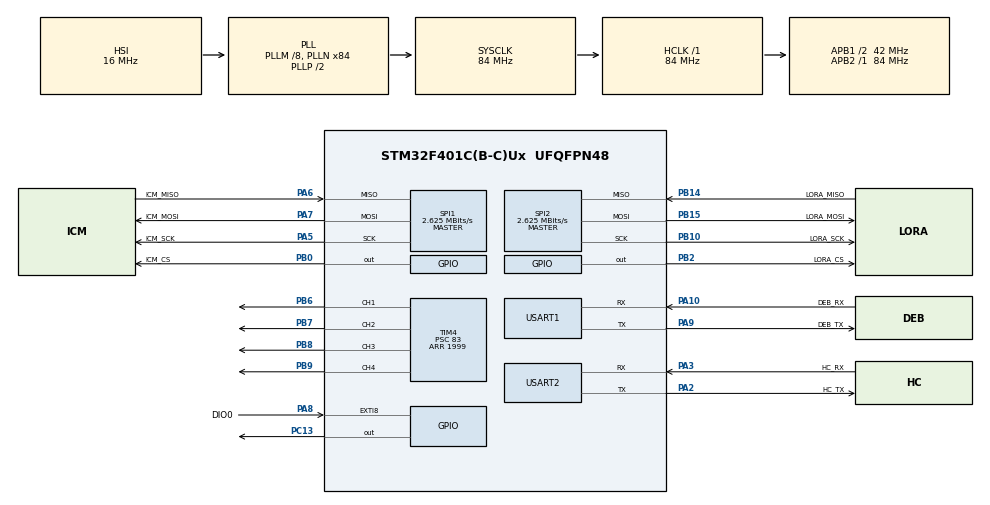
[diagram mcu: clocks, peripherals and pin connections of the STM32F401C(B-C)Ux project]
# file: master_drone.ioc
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Mcu.Family=STM32F4
Mcu.Name=STM32F401C(B-C)Ux
Mcu.Package=UFQFPN48
NVIC.EXTI9_5_IRQn=true\:0\:0\:false\:false\:true\:true\:true\:true
NVIC.PriorityGroup=NVIC_PRIORITYGROUP_4
NVIC.TIM2_IRQn=true\:0\:0\:false\:false\:true\:true\:true\:true
NVIC.USART2_IRQn=true\:3\:0\:true\:false\:true\:true\:true\:true
PA10.GPIO_Label=DEB_RX
PA10.Mode=Asynchronous
PA10.Signal=USART1_RX
PA2.GPIO_Label=HC_TX
PA2.Mode=Asynchronous
PA2.Signal=USART2_TX
PA3.GPIO_Label=HC_RX
PA3.Mode=Asynchronous
PA3.Signal=USART2_RX
PA5.GPIO_Label=ICM_SCK
PA5.Mode=Full_Duplex_Master
PA5.Signal=SPI1_SCK
PA6.GPIO_Label=ICM_MISO
PA6.Mode=Full_Duplex_Master
PA6.Signal=SPI1_MISO
PA7.GPIO_Label=ICM_MOSI
PA7.Mode=Full_Duplex_Master
PA7.Signal=SPI1_MOSI
PA8.GPIO_Label=DIO0
PA8.Signal=GPXTI8
PA9.GPIO_Label=DEB_TX
PA9.Mode=Asynchronous
PA9.Signal=USART1_TX
PB0.GPIO_Label=ICM_CS
PB0.Signal=GPIO_Output
PB10.GPIO_Label=LORA_SCK
PB10.Mode=Full_Duplex_Master
PB10.Signal=SPI2_SCK
PB14.GPIO_Label=LORA_MISO
PB14.Mode=Full_Duplex_Master
PB14.Signal=SPI2_MISO
PB15.GPIO_Label=LORA_MOSI
PB15.Mode=Full_Duplex_Master
PB15.Signal=SPI2_MOSI
PB2.GPIO_Label=LORA_CS
PB2.Signal=GPIO_Output
PB6.GPIO_Speed=GPIO_SPEED_FREQ_HIGH
PB6.Signal=S_TIM4_CH1
PB7.GPIO_Speed=GPIO_SPEED_FREQ_HIGH
PB7.Signal=S_TIM4_CH2
PB8.GPIO_Speed=GPIO_SPEED_FREQ_HIGH
PB8.Signal=S_TIM4_CH3
PB9.GPIO_Speed=GPIO_SPEED_FREQ_HIGH
PB9.Signal=S_TIM4_CH4
PC13-ANTI_TAMP.Signal=GPIO_Output
PH0\ -\ OSC_IN.Mode=HSE-External-Oscillator
PH0\ -\ OSC_IN.Signal=RCC_OSC_IN
PH1\ -\ OSC_OUT.Mode=HSE-External-Oscillator
PH1\ -\ OSC_OUT.Signal=RCC_OSC_OUT
ProjectManager.HeapSize=0x200
ProjectManager.StackSize=0x400
ProjectManager.TargetToolchain=STM32CubeIDE
RCC.48MHZClocksFreq_Value=42000000
RCC.AHBFreq_Value=84000000
RCC.APB1CLKDivider=RCC_HCLK_DIV2
RCC.APB1Freq_Value=42000000
RCC.APB1TimFreq_Value=84000000
RCC.APB2Freq_Value=84000000
RCC.APB2TimFreq_Value=84000000
RCC.CortexFreq_Value=84000000
RCC.HCLKFreq_Value=84000000
RCC.HSE_VALUE=25000000
RCC.HSI_VALUE=16000000
RCC.LSE_VALUE=32768
RCC.PLLM=8
RCC.PLLN=84
RCC.SYSCLKFreq_VALUE=84000000
RCC.SYSCLKSource=RCC_SYSCLKSOURCE_PLLCLK
RCC.VCOOutputFreq_Value=168000000
SH.S_TIM4_CH1.0=TIM4_CH1,PWM Generation1 CH1
SH.S_TIM4_CH2.0=TIM4_CH2,PWM Generation2 CH2
SH.S_TIM4_CH3.0=TIM4_CH3,PWM Generation3 CH3
SH.S_TIM4_CH4.0=TIM4_CH4,PWM Generation4 CH4
SPI1.BaudRatePrescaler=SPI_BAUDRATEPRESCALER_32
SPI1.CalculateBaudRate=2.625 MBits/s
SPI1.Direction=SPI_DIRECTION_2LINES
SPI1.Mode=SPI_MODE_MASTER
SPI1.VirtualType=VM_MASTER
SPI2.BaudRatePrescaler=SPI_BAUDRATEPRESCALER_16
SPI2.CalculateBaudRate=2.625 MBits/s
SPI2.Direction=SPI_DIRECTION_2LINES
SPI2.Mode=SPI_MODE_MASTER
SPI2.VirtualType=VM_MASTER
TIM2.AutoReloadPreload=TIM_AUTORELOAD_PRELOAD_ENABLE
TIM2.Period=1999
TIM2.Prescaler=83
TIM4.Channel-PWM\ Generation1\ CH1=TIM_CHANNEL_1
TIM4.Channel-PWM\ Generation2\ CH2=TIM_CHANNEL_2
TIM4.Channel-PWM\ Generation3\ CH3=TIM_CHANNEL_3
TIM4.Channel-PWM\ Generation4\ CH4=TIM_CHANNEL_4
TIM4.Period=1999
TIM4.Prescaler=83
USART1.VirtualMode=VM_ASYNC
USART2.VirtualMode=VM_ASYNC
VP_TIM2_VS_ClockSourceINT.Mode=Internal
VP_TIM4_VS_ClockSourceINT.Mode=Internal
board=custom

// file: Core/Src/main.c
/* USER CODE BEGIN Header */
/**
  ******************************************************************************
  * @file           : main.c
  * @brief          : Main program body
  ******************************************************************************
  */
/* USER CODE END Header */

#include "main.h"
#include "spi.h"
#include "tim.h"
#include "usart.h"
#include "gpio.h"

/* USER CODE BEGIN Includes */
#include <stdio.h>
#include "icm20948.h"
#include "madgwick.h"
#include "motor_control.h"
/* USER CODE END Includes */

/* USER CODE BEGIN PTD */

typedef struct {
    float kp;
    float ki;
    float kd;

    float integral;
    float prev_error;

    float out_min;
    float out_max;
} PID_t;

/* USER CODE END PTD */

/* USER CODE BEGIN PD */

#define RC_PACKET_SIZE 2

#define PI_reverse_180 57.2957795f

/*
 * TIM2 должен быть 500 Гц.
 */
#define PID_DT 0.002f

#define MAX_ANGLE_CMD_DEG 20.0f

/*
 * Базовый газ.
 * Для первого теста с yaw лучше не ставить сразу 300.
 */
//#define BASE_THROTTLE 300.0f
#define THROTTLE_START 150.0f
#define THROTTLE_END   350.0f
#define THROTTLE_RAMP_TIME_MS 7000

#define ROLL_TRIM_PERCENT -0.07f
#define ROLL_TRIM_MAX     30.0f

/*
 * 1 = реально писать в моторы.
 * 0 = только считать и выводить в UART.
 */
#define CONTROL_MOTORS 1

#define PITCH_TRIM_PERCENT 0.15f
#define PITCH_TRIM_MAX     45.0f

/*
 * Одноразовый тест.
 */
#define PID_TEST_DELAY_MS     3000
#define PID_TEST_DURATION_MS  8000

/*
 * YAW_MIX_SIGN:
 *
 * Если yaw-коррекция раскручивает дрон сильнее,
 * поменять 1.0f на -1.0f.
 */
#define YAW_MIX_SIGN 1.0f

/* USER CODE END PD */

/* USER CODE BEGIN PV */
volatile float current_throttle_dbg = 0.0f;

volatile uint8_t imu_flag = 0;

volatile uint8_t pid_enable = 0;
volatile uint8_t motor_update_flag = 0;

volatile uint8_t attitude_ref_captured = 0;
volatile float roll_ref_deg = 0.0f;
volatile float pitch_ref_deg = 0.0f;

volatile int8_t rc_roll = 0;
volatile int8_t rc_pitch = 0;
volatile uint32_t rc_last_update = 0;
volatile uint8_t rc_valid = 0;

static uint8_t uart_rx_byte;
static uint8_t uart_state = 0;
static uint8_t uart_buf[RC_PACKET_SIZE];

volatile uint32_t uart2_bytes_received = 0;

MadgwickFilter Filter;
volatile euler_t angles = {0};

/*
 * Debug accelerometer.
 */
volatile float accel_x_dbg = 0.0f;
volatile float accel_y_dbg = 0.0f;
volatile float accel_z_dbg = 0.0f;

volatile int16_t accel_x_raw_dbg = 0;
volatile int16_t accel_y_raw_dbg = 0;
volatile int16_t accel_z_raw_dbg = 0;

/*
 * Debug gyro.
 */
volatile float gyro_x_dbg = 0.0f;
volatile float gyro_y_dbg = 0.0f;
volatile float gyro_z_dbg = 0.0f;

volatile int16_t gyro_x_raw_dbg = 0;
volatile int16_t gyro_y_raw_dbg = 0;
volatile int16_t gyro_z_raw_dbg = 0;

/*
 * PID test state.
 */
volatile uint8_t pid_test_started = 0;
volatile uint8_t pid_test_finished = 0;
volatile uint32_t pid_test_start_time = 0;

/*
 * Roll PID.
 */
static PID_t pid_roll = {
    .kp = 0.05f,
    .ki = 0.0f,
    .kd = 0.01f,

    .integral = 0.0f,
    .prev_error = 0.0f,

    .out_min = -30.0f,
    .out_max = 30.0f
};

static PID_t pid_pitch = {
    .kp = 0.05f,
    .ki = 0.0f,
    .kd = 0.01f,

    .integral = 0.0f,
    .prev_error = 0.0f,

    .out_min = -30.0f,
    .out_max = 30.0f
};

/*
 * Yaw PID.
 *
 * Пока делаем не удержание angles.yaw,
 * а гашение скорости вращения по gyro Z.
 *
 * target_yaw_rate = 0
 */
static PID_t pid_yaw = {
    .kp = 0.0075f,
    .ki = 0.00125f,
    .kd = 0.0025f,

    .integral = 0.0f,
    .prev_error = 0.0f,

    .out_min = -25.0f,
    .out_max = 25.0f
};

volatile float target_roll_deg = 0.0f;
volatile float target_pitch_deg = 0.0f;
volatile float target_yaw_rate = 0.0f;

volatile float roll_corr_dbg = 0.0f;
volatile float pitch_corr_dbg = 0.0f;
volatile float yaw_corr_dbg = 0.0f;

volatile uint16_t motor1_dbg = 0;
volatile uint16_t motor2_dbg = 0;
volatile uint16_t motor3_dbg = 0;
volatile uint16_t motor4_dbg = 0;

/* USER CODE END PV */

void SystemClock_Config(void);

/* USER CODE BEGIN PFP */

void init_fail_detector(init_status status);

static float PID_Update(PID_t *pid, float target, float current, float dt);
static void PID_Reset(PID_t *pid);

static uint16_t clamp_throttle(float value);
static float rc_to_angle_deg(int8_t rc_value);

void RC_Process_Failure(void);
void PID_Test_Service(void);

/* USER CODE END PFP */

/* USER CODE BEGIN 0 */

void init_fail_detector(init_status status)
{
    switch(status)
    {
        case init_success:
            printf("Init success\r\n");
            break;

        case who_am_i_fail:
            printf("WHO_AM_I failed\r\n");
            break;

        case reset_fail:
            printf("Reset failed\r\n");
            break;

        case wake_up_fail:
            printf("Wake up failed\r\n");
            break;

        case clock_source_fail:
            printf("Clock source config failed\r\n");
            break;

        case odr_fail:
            printf("ODR align failed\r\n");
            break;

        case spi_slave_enable_fail:
            printf("SPI slave enable failed\r\n");
            break;

        case gyro_srd_fail:
            printf("Gyro sample rate divider failed\r\n");
            break;

        case gyro_fsf_fail:
            printf("Gyro full scale config failed\r\n");
            break;

        case accel_fsf_fail:
            printf("Accel full scale config failed\r\n");
            break;

        default:
            printf("Unknown init error\r\n");
            break;
    }
}

static float PID_Update(PID_t *pid, float target, float current, float dt)
{
    float error = target - current;

    pid->integral += error * dt;

    /*
     * Anti-windup.
     */
    if (pid->integral > 50.0f)
    {
        pid->integral = 50.0f;
    }

    if (pid->integral < -50.0f)
    {
        pid->integral = -50.0f;
    }

    float derivative = (error - pid->prev_error) / dt;

    float output = pid->kp * error
                 + pid->ki * pid->integral
                 + pid->kd * derivative;

    if (output > pid->out_max)
    {
        output = pid->out_max;
    }

    if (output < pid->out_min)
    {
        output = pid->out_min;
    }

    pid->prev_error = error;

    return output;
}

static void PID_Reset(PID_t *pid)
{
    pid->integral = 0.0f;
    pid->prev_error = 0.0f;
}

static uint16_t clamp_throttle(float value)
{
    if (value < MOTOR_THROTTLE_MIN)
    {
        return MOTOR_THROTTLE_MIN;
    }

    if (value > MOTOR_THROTTLE_MAX)
    {
        return MOTOR_THROTTLE_MAX;
    }

    return (uint16_t)value;
}

static float rc_to_angle_deg(int8_t rc_value)
{
    return ((float)rc_value / 100.0f) * MAX_ANGLE_CMD_DEG;
}

/*
 * Одноразовый PID motor test.
 */
void PID_Test_Service(void)
{
    if (pid_test_finished)
    {
        pid_enable = 0;
        Motors_StopAll();
        return;
    }

    /*
     * Ждём несколько секунд после старта.
     */
    if (!pid_test_started)
    {
        if (HAL_GetTick() >= PID_TEST_DELAY_MS)
        {
            Motors_ArmOnce();
            Motors_StartOneShotTest();

            pid_test_start_time = HAL_GetTick();
            pid_test_started = 1;

            attitude_ref_captured = 0;

            PID_Reset(&pid_roll);
            PID_Reset(&pid_pitch);
            PID_Reset(&pid_yaw);

            pid_enable = 1;

            printf("PID MOTOR TEST STARTED WITH YAW.\r\n");
        }
        else
        {
            pid_enable = 0;
            Motors_StopAll();
            return;
        }
    }

    /*
     * Автостоп.
     */
    if (pid_test_started && Motors_OneShotTestIsRunning())
    {
        if (HAL_GetTick() - pid_test_start_time >= PID_TEST_DURATION_MS)
        {
            pid_enable = 0;

            PID_Reset(&pid_roll);
            PID_Reset(&pid_pitch);
            PID_Reset(&pid_yaw);

            Motors_FinishOneShotTest();

            pid_test_finished = 1;

            motor1_dbg = 0;
            motor2_dbg = 0;
            motor3_dbg = 0;
            motor4_dbg = 0;

            printf("PID MOTOR TEST FINISHED.\r\n");

            return;
        }
    }

#if CONTROL_MOTORS
    if (motor_update_flag)
    {
        motor_update_flag = 0;

        if (Motors_OneShotTestIsRunning() && Motors_IsArmed())
        {
            Motor_SetThrottle(MOTOR_1_CHANNEL, motor1_dbg);
            Motor_SetThrottle(MOTOR_2_CHANNEL, motor2_dbg);
            Motor_SetThrottle(MOTOR_3_CHANNEL, motor3_dbg);
            Motor_SetThrottle(MOTOR_4_CHANNEL, motor4_dbg);
        }
        else
        {
            Motors_StopAll();
        }
    }
#else
    Motors_StopAll();
#endif
}

/* USER CODE END 0 */

int main(void)
{
  HAL_Init();

  SystemClock_Config();

  MX_GPIO_Init();
  MX_SPI1_Init();
  MX_SPI2_Init();
  MX_TIM2_Init();
  MX_TIM4_Init();
  MX_USART1_UART_Init();
  MX_USART2_UART_Init();

  /* USER CODE BEGIN 2 */

  printf("STM32 active\r\n");

  HAL_NVIC_SetPriority(TIM2_IRQn, 0, 0);
  HAL_NVIC_SetPriority(USART2_IRQn, 5, 0);

  /*
   * PWM стартует, но motor_control держит моторы locked,
   * пока не будет Motors_ArmOnce + Motors_StartOneShotTest.
   */
  Motors_Init();
  Motors_StopAll();

  HAL_UART_Receive_IT(&huart2, &uart_rx_byte, 1);

  HAL_GPIO_WritePin(spi_cs_port, spi_cs_pin, SET);

  if (who_am_i() == HAL_OK)
  {
      printf("Im here!\r\n");
  }
  else
  {
      printf("Its so sad\r\n");
  }

  init_status init_st = icm20948_init(_500dps, _4g, 1);

  if (init_st != init_success)
  {
      printf("Init error\r\n");
  }
  else
  {
      printf("Init success\r\n");
  }

  init_fail_detector(init_st);

  madgwick_init(&Filter, 1);

  HAL_TIM_Base_Start_IT(&htim2);

  printf("System ready. PID motor test starts after %lu ms.\r\n",
         (uint32_t)PID_TEST_DELAY_MS);

  /* USER CODE END 2 */

  while (1)
  {
    /* USER CODE BEGIN 3 */

    PID_Test_Service();

    static uint32_t last_print = 0;

    if (HAL_GetTick() - last_print > 300)
    {
        last_print = HAL_GetTick();

        printf("\r\n--- PID YAW TEST ---\r\n");

        printf("Angles: R=%6d P=%6d Y=%6d\r\n",
               (int)(angles.roll),
               (int)(angles.pitch),
               (int)(angles.yaw));

        printf("Accel scaled: X=%7d Y=%7d Z=%7d\r\n",
               (int)(accel_x_dbg),
               (int)(accel_y_dbg),
               (int)(accel_z_dbg));

        printf("Gyro scaled:  X=%7d Y=%7d Z=%7d\r\n",
               (int)(gyro_x_dbg),
               (int)(gyro_y_dbg),
               (int)(gyro_z_dbg));

        printf("Target: R=%6d P=%6d Yrate=%6d\r\n",
               (int)(target_roll_deg),
               (int)(target_pitch_deg),
               (int)(target_yaw_rate));

        printf("PID: R=%6d P=%6d Y=%6d\r\n",
               (int)(roll_corr_dbg),
               (int)(pitch_corr_dbg),
               (int)(yaw_corr_dbg));

        printf("Motors: M1=%4u M2=%4u M3=%4u M4=%4u\r\n",
               motor1_dbg,
               motor2_dbg,
               motor3_dbg,
               motor4_dbg);

        printf("M1=rear right | M2=rear left | M3=front left | M4=front right\r\n");

        printf("pid_enable=%d started=%d finished=%d rc_valid=%d state=%d\r\n",
               pid_enable,
               pid_test_started,
               pid_test_finished,
               rc_valid,
               Motors_GetOneShotTestState());
    }

    /* USER CODE END 3 */
  }
}

void SystemClock_Config(void)
{
  RCC_OscInitTypeDef RCC_OscInitStruct = {0};
  RCC_ClkInitTypeDef RCC_ClkInitStruct = {0};

  __HAL_RCC_PWR_CLK_ENABLE();
  __HAL_PWR_VOLTAGESCALING_CONFIG(PWR_REGULATOR_VOLTAGE_SCALE2);

  RCC_OscInitStruct.OscillatorType = RCC_OSCILLATORTYPE_HSI;
  RCC_OscInitStruct.HSIState = RCC_HSI_ON;
  RCC_OscInitStruct.HSICalibrationValue = RCC_HSICALIBRATION_DEFAULT;

  RCC_OscInitStruct.PLL.PLLState = RCC_PLL_ON;
  RCC_OscInitStruct.PLL.PLLSource = RCC_PLLSOURCE_HSI;
  RCC_OscInitStruct.PLL.PLLM = 8;
  RCC_OscInitStruct.PLL.PLLN = 84;
  RCC_OscInitStruct.PLL.PLLP = RCC_PLLP_DIV2;
  RCC_OscInitStruct.PLL.PLLQ = 4;

  if (HAL_RCC_OscConfig(&RCC_OscInitStruct) != HAL_OK)
  {
    Error_Handler();
  }

  RCC_ClkInitStruct.ClockType = RCC_CLOCKTYPE_HCLK
                              | RCC_CLOCKTYPE_SYSCLK
                              | RCC_CLOCKTYPE_PCLK1
                              | RCC_CLOCKTYPE_PCLK2;

  RCC_ClkInitStruct.SYSCLKSource = RCC_SYSCLKSOURCE_PLLCLK;
  RCC_ClkInitStruct.AHBCLKDivider = RCC_SYSCLK_DIV1;
  RCC_ClkInitStruct.APB1CLKDivider = RCC_HCLK_DIV2;
  RCC_ClkInitStruct.APB2CLKDivider = RCC_HCLK_DIV1;

  if (HAL_RCC_ClockConfig(&RCC_ClkInitStruct, FLASH_LATENCY_2) != HAL_OK)
  {
    Error_Handler();
  }
}

/* USER CODE BEGIN 4 */

void HAL_UART_RxCpltCallback(UART_HandleTypeDef *huart)
{
    if (huart->Instance == USART2)
    {
        uart2_bytes_received++;

        uart_buf[uart_state] = uart_rx_byte;
        uart_state++;

        if (uart_state >= RC_PACKET_SIZE)
        {
            rc_roll = (int8_t)uart_buf[0];
            rc_pitch = (int8_t)uart_buf[1];

            rc_last_update = HAL_GetTick();
            rc_valid = 1;

            uart_state = 0;
        }

        HAL_UART_Receive_IT(&huart2, &uart_rx_byte, 1);
    }
}

void RC_Process_Failure(void)
{
    if (rc_valid && (HAL_GetTick() - rc_last_update > 500))
    {
        rc_valid = 0;
        rc_roll = 0;
        rc_pitch = 0;
    }
}

void HAL_TIM_PeriodElapsedCallback(TIM_HandleTypeDef *htim)
{
    static axis_raw_t accel;
    static axis_raw_t gyro;
    static axis_scaled_t scaled_accel;
    static axis_scaled_t scaled_gyro;

    if (htim->Instance == TIM2)
    {
        imu_flag = 1;

        RC_Process_Failure();

        if (rc_valid)
        {
            HAL_GPIO_WritePin(GPIOC, GPIO_PIN_13, GPIO_PIN_SET);
        }
        else
        {
            HAL_GPIO_WritePin(GPIOC, GPIO_PIN_13, GPIO_PIN_RESET);
        }

        /*
         * IMU read.
         */
        icm20948_accel_read(&accel);
        icm20948_gyro_read(&gyro);

        /*
         * Scale.
         */
        icm20948_scale_accel(&accel, &scaled_accel);
        icm20948_scale_gyro(&gyro, &scaled_gyro);

        /*
         * ВАЖНО:
         * primary_accel_calib не гоняем в цикле.
         */
        // icm20948_primary_accel_calib(&scaled_accel);

        icm20948_apply_calib(&scaled_accel, &scaled_gyro);

        /*
         * Debug accel.
         */
        accel_x_raw_dbg = accel.x;
        accel_y_raw_dbg = accel.y;
        accel_z_raw_dbg = accel.z;

        accel_x_dbg = scaled_accel.x;
        accel_y_dbg = scaled_accel.y;
        accel_z_dbg = scaled_accel.z;

        /*
         * Debug gyro.
         */
        gyro_x_raw_dbg = gyro.x;
        gyro_y_raw_dbg = gyro.y;
        gyro_z_raw_dbg = gyro.z;

        gyro_x_dbg = scaled_gyro.x;
        gyro_y_dbg = scaled_gyro.y;
        gyro_z_dbg = scaled_gyro.z;

        /*
         * Madgwick.
         */
        madgwick_run(&Filter, &scaled_accel, &scaled_gyro);

        euler_t temp = madgwick_get_euler(&Filter);

        float roll_deg  = temp.roll  * PI_reverse_180;
        float pitch_deg = temp.pitch * PI_reverse_180;
        float yaw_deg   = temp.yaw   * PI_reverse_180;

        angles.roll = roll_deg;
        angles.pitch = pitch_deg;
        angles.yaw = yaw_deg;

        /*
         * Если PID выключен — только обновляем IMU debug.
         */
        if (!pid_enable || !Motors_OneShotTestIsRunning())
        {
            roll_corr_dbg = 0.0f;
            pitch_corr_dbg = 0.0f;
            yaw_corr_dbg = 0.0f;

            motor1_dbg = 0;
            motor2_dbg = 0;
            motor3_dbg = 0;
            motor4_dbg = 0;

            motor_update_flag = 1;

            return;
        }

        /*
         * Захват текущего положения как целевого.
         */
        if (!attitude_ref_captured)
        {
            roll_ref_deg = roll_deg;
            pitch_ref_deg = pitch_deg;

            attitude_ref_captured = 1;

            PID_Reset(&pid_roll);
            PID_Reset(&pid_pitch);
            PID_Reset(&pid_yaw);
        }

        /*
         * Roll/Pitch target.
         */
        if (rc_valid)
        {
            target_roll_deg  = roll_ref_deg  + rc_to_angle_deg(rc_roll);
            target_pitch_deg = pitch_ref_deg + rc_to_angle_deg(rc_pitch);
        }
        else
        {
            target_roll_deg  = roll_ref_deg;
            target_pitch_deg = pitch_ref_deg;
        }

        /*
         * Roll / Pitch PID.
         */
        float roll_corr = PID_Update(
            &pid_roll,
            target_roll_deg,
            roll_deg,
            PID_DT
        );

        float pitch_corr = PID_Update(
            &pid_pitch,
            target_pitch_deg,
            pitch_deg,
            PID_DT
        );

        /*
         * Yaw rate PID.
         *
         * Не держим absolute yaw angle.
         * Гасим скорость вращения вокруг Z.
         *
         * target_yaw_rate = 0.
         */
        target_yaw_rate = 0.0f;

        float yaw_corr = PID_Update(
            &pid_yaw,
            target_yaw_rate,
            gyro_z_dbg,
            PID_DT
        );

        yaw_corr *= YAW_MIX_SIGN;

        roll_corr_dbg = roll_corr;
        pitch_corr_dbg = pitch_corr;
        yaw_corr_dbg = yaw_corr;

        /*
         * Реальная карта моторов:
         *
         * M1 = задний правый
         * M2 = задний левый
         * M3 = передний левый
         * M4 = передний правый
         *
         * Roll/Pitch:
         * - нос вниз        -> растут M3/M4
         * - нос вверх       -> растут M1/M2
         * - правый бок вниз -> растут M1/M4
         * - левый бок вниз  -> растут M2/M3
         *
         * Yaw:
         * Предполагаем, что диагонали M1/M3 и M2/M4 крутятся в разные стороны.
         * Если yaw усиливает вращение, поменять YAW_MIX_SIGN.
         */

        float elapsed_ms = (float)(HAL_GetTick() - pid_test_start_time);

        float ramp_k = elapsed_ms / (float)THROTTLE_RAMP_TIME_MS;

        if (ramp_k > 1.0f)
        {
            ramp_k = 1.0f;
        }

        if (ramp_k < 0.0f)
        {
            ramp_k = 0.0f;
        }

        float throttle = THROTTLE_START + ramp_k * (THROTTLE_END - THROTTLE_START);

        current_throttle_dbg = throttle;

        float pitch_trim = throttle * PITCH_TRIM_PERCENT;

        if (pitch_trim > PITCH_TRIM_MAX)
        {
            pitch_trim = PITCH_TRIM_MAX;
        }

        float roll_trim = throttle * ROLL_TRIM_PERCENT;

        if (roll_trim > ROLL_TRIM_MAX)
        {
            roll_trim = ROLL_TRIM_MAX;
        }

        if (roll_trim < -ROLL_TRIM_MAX)
        {
            roll_trim = -ROLL_TRIM_MAX;
        }

        uint16_t m1 = clamp_throttle(throttle + pitch_corr + roll_corr + yaw_corr - pitch_trim + roll_trim); // rear right
        uint16_t m2 = clamp_throttle(throttle + pitch_corr - roll_corr - yaw_corr - pitch_trim - roll_trim); // rear left
        uint16_t m3 = clamp_throttle(throttle - pitch_corr - roll_corr + yaw_corr + pitch_trim - roll_trim); // front left
        uint16_t m4 = clamp_throttle(throttle - pitch_corr + roll_corr - yaw_corr + pitch_trim + roll_trim); // front right

        motor1_dbg = m1;
        motor2_dbg = m2;
        motor3_dbg = m3;
        motor4_dbg = m4;

        motor_update_flag = 1;
    }
}

/* USER CODE END 4 */

void Error_Handler(void)
{
  /* USER CODE BEGIN Error_Handler_Debug */

  __disable_irq();

  while (1)
  {
      HAL_GPIO_TogglePin(GPIOC, GPIO_PIN_13);
      HAL_Delay(200);
  }

  /* USER CODE END Error_Handler_Debug */
}
